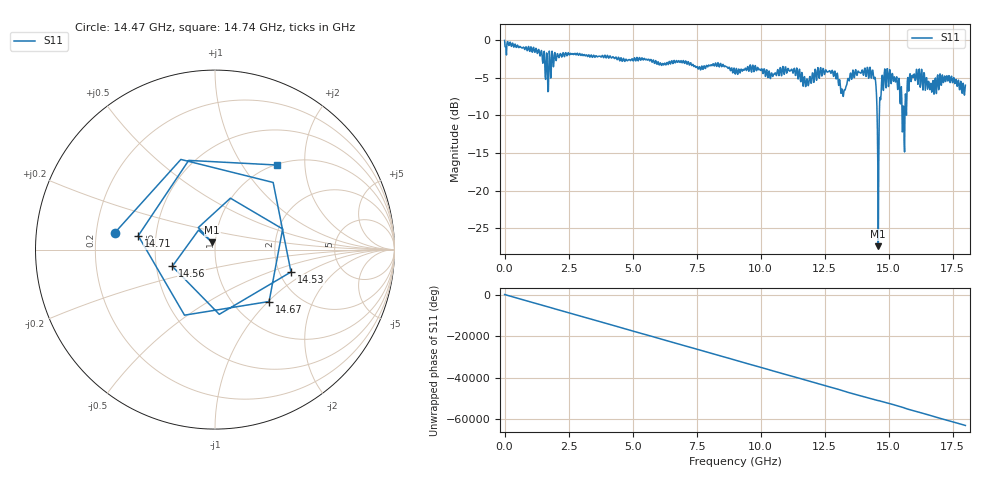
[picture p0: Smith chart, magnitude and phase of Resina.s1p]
!Keysight Technologies N9917A: A.12.46
!Date: Friday, 22 December 2023 20:24:18
!TimeZone: (UTC-03:00) Buenos Aires!Model: N9917A
!Serial: MY56072049
!GPS Latitude:
!GPS Longitude:
!GPS TimeStamp: 0001-01-01 00:00:00Z
!GPS Seconds Since Last Read: 0
!CHECKSUM:0373900875
!Correction: S11(Rdy)
!S1P File: Measurement: S11:
# Hz S RI R 50
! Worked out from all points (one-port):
!   1001 points, 30 kHz to 18 GHz, reference 50 ohm
!   lowest |S11| = -27.4 dB at 14.6 GHz (marker M1), VSWR 1.09, Z = 48.3 + j3.85 ohm
!   |S11| at or under -10 dB: 14.55 GHz to 14.64 GHz (86.69 MHz wide, 0.594 % of centre); 15.52503 GHz to 15.56315 GHz (38.12 MHz wide, 0.245 % of centre); 15.59262 GHz to 15.63832 GHz (45.7 MHz wide, 0.293 % of centre)
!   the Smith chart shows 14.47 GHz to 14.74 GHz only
!   S11 on the Smith chart (normalised r, x): 14.47 GHz: 0.28, +0.08; 14.53 GHz: 2.31, -0.72; 14.56 GHz: 0.61, -0.12; 14.67 GHz: 1.44, -1.01; 14.71 GHz: 0.40, +0.08; 14.74 GHz: 1.01, +1.45
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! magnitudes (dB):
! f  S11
! 30 kHz  0.0
! 1.368 GHz  -1.8
! 1.638 GHz  -1.7
! 2.25 GHz  -2.1
! 4.5 GHz  -2.7
! 6.75 GHz  -2.9
! 9 GHz  -4.4
! 11.25 GHz  -4.2
! 11.83 GHz  -5.2
! 12.73 GHz  -4.2
! 13.21 GHz  -7.4
! 13.5 GHz  -4.4
! 14.33 GHz  -5.0
! 14.47 GHz  -4.9
! 14.53 GHz  -7.1
! 14.56 GHz  -11.8
! 14.6 GHz  -27.4
! 14.67 GHz  -7.6
! 14.71 GHz  -7.2
! 14.74 GHz  -4.7
! 14.9 GHz  -6.3
! 15.32 GHz  -4.9
! 15.61 GHz  -13.3
! 15.75 GHz  -5.0
! 16.02 GHz  -4.8
! 16.69 GHz  -6.9
! 17.28 GHz  -4.7
! 18 GHz  -6.0
